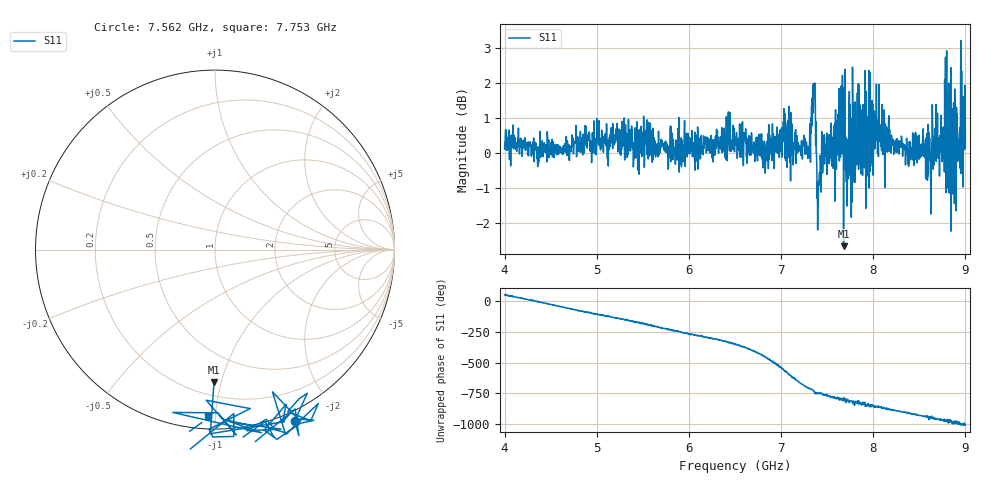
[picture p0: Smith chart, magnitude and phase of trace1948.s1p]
! Created with skrf 1.8.0 (http://scikit-rf.org).
# Hz S RI R 50.0
!freq ReS11 ImS11
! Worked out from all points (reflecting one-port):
!   1601 points, 4 GHz to 9 GHz, reference 50 ohm
!   lowest |S11| = -2.6 dB at 7.678 GHz (marker M1), VSWR 6.61, Z = 14.7 - j47.4 ohm
!   phase of S11 starts at 50 deg and turns -1053 deg over the sweep
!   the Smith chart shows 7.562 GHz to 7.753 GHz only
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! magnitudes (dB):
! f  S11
! 4 GHz  0.1
! 4.625 GHz  0.0
! 5.25 GHz  0.0
! 5.875 GHz  0.0
! 6.5 GHz  0.5
! 6.825 GHz  0.0
! 7.022 GHz  0.3
! 7.125 GHz  0.3
! 7.294 GHz  -0.1
! 7.347 GHz  1.1
! 7.362 GHz  2.0
! 7.412 GHz  -0.7
! 7.462 GHz  -0.1
! 7.678 GHz  -2.6
! 7.703 GHz  0.5
! 7.75 GHz  1.4
! 7.769 GHz  -0.3
! 7.822 GHz  -0.3
! 7.909 GHz  0.7
! 8.038 GHz  0.9
! 8.375 GHz  0.1
! 8.612 GHz  0.4
! 8.656 GHz  0.3
! 8.766 GHz  0.3
! 8.797 GHz  2.9
! 8.856 GHz  0.6
! 8.972 GHz  0.7
! 9 GHz  0.2
